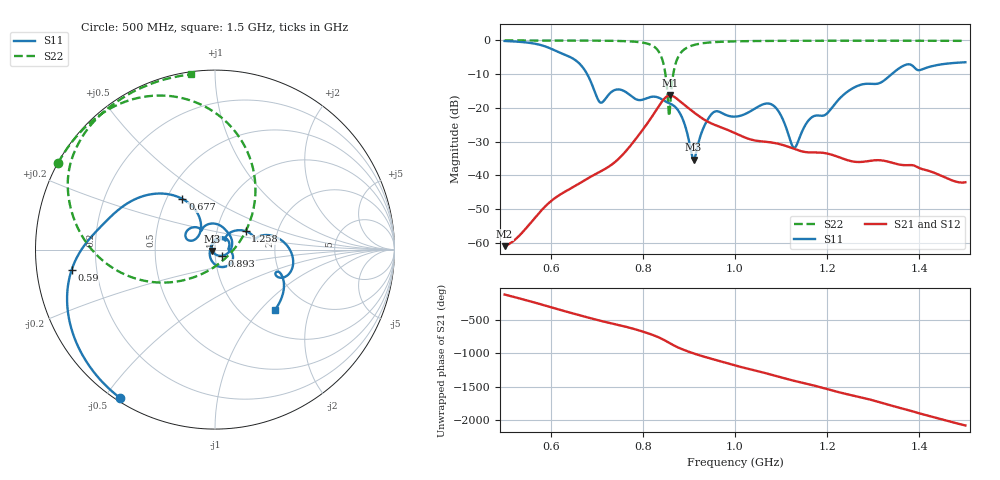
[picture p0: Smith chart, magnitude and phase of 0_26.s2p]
! TOUCHSTONE file generated by CST MICROWAVE STUDIO
! Date and time: Sat Oct 24 11:15:57 2020
! Project name: Scenario_1_Circular_Tissue_in_Line.cst
! Parameters = {L_HA=400; MT=2.54; Rad_Dielectric=30; Rad_Lower=7.3; Rad_Upper=30; a_HA=580; a_WG=246; b_HA=500; b_WG=121; c_HA=0; c_WG=187; d_feed=85; dx1=606; h_feed=15; h_lower=18; h_upper=40}
! Header version: 2018
! Port assignment regex: !\s*Touchstone port\s*([0-9]+)\s*=\s*(CST MWS port|CST DS port)\s*([0-9]+|Zmin|Zmax)\s*\(\"(.*)\"\)(\s*mode\s*([0-9]+))?.*
! Touchstone port assignment:
! Touchstone port 1 = CST MWS port 1 ("")
! Touchstone port 2 = CST MWS port 2 ("")
# GHz S DB R 50
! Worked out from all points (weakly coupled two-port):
!   1003 points, 500 MHz to 1.5 GHz, reference 50 ohm
!   highest |S21| = -16.31 dB at 859 MHz (marker M1); lowest = -61.0 dB at 500 MHz (marker M2)
!   lowest |S11| = -35.4 dB at 910 MHz (marker M3), VSWR 1.03, Z = 48.5 - j0.803 ohm
!   |S11| at or under -10 dB: 679.2 MHz to 1.34 GHz (660.7 MHz wide, 65.4 % of centre)
!   |S22| runs from -22.5 to 0.0 dB; largest |S21 - S12| = 9.8e-05
!   S11 on the Smith chart (normalised r, x): 500 MHz: 0.01, -0.55; 590 MHz: 0.11, -0.07; 677 MHz: 0.60, +0.38; 893 MHz: 1.07, -0.07; 1.258 GHz: 1.38, +0.29; 1.5 GHz: 1.38, -1.21
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0.5  -0.16 -122.5  -61.01 -112.1  -61.01 -112.1  -0.01 151.1
0.59  -1.86 -171.9  -48.98 78.1  -48.95 77.8  -0.02 144.9
0.667  -7.55 132.1  -42.00 -72.4  -42.01 -72.4  -0.04 138.3
0.677  -9.48 122.7  -41.19 -91.1  -41.19 -91.1  -0.05 137.3
0.708  -18.43 139.7  -38.86 -147.7  -38.86 -147.7  -0.07 133.8
0.745  -14.53 148.7  -35.42 152.0  -35.42 152.0  -0.15 128.4
0.789  -17.63 124.7  -28.44 73.0  -28.44 73.0  -0.45 117.3
0.834  -16.95 84.8  -19.64 -36.4  -19.64 -36.4  -3.20 82.7
0.848  -18.01 63.5  -17.07 -84.5  -17.07 -84.5  -9.13 50.6
0.859  -18.74 46.0  -16.31 -127.8  -16.31 -127.8  -19.94 -95.1
0.87  -19.69 22.7  -16.90 -168.6  -16.90 -168.6  -7.39 -155.9
0.893  -25.86 -42.8  -19.43 123.2  -19.43 123.2  -2.37 172.4
0.91  -35.38 -150.9  -21.25 81.0  -21.25 81.0  -1.39 162.0
0.95  -21.71 56.8  -24.70 -2.7  -24.69 -2.7  -0.55 148.9
1  -22.60 2.3  -27.49 -100.8  -27.49 -100.8  -0.27 140.2
1.08  -19.02 -57.6  -30.28 117.4  -30.28 117.4  -0.14 131.5
1.129  -31.86 156.1  -32.20 26.1  -32.20 26.1  -0.11 127.2
1.167  -22.76 52.2  -33.22 -36.2  -33.22 -36.2  -0.10 124.1
1.258  -14.00 30.9  -35.95 162.4  -35.95 162.4  -0.08 117.2
1.334  -10.70 16.2  -36.00 24.1  -36.00 24.1  -0.09 111.4
1.373  -7.13 -8.2  -36.99 -47.3  -36.99 -47.3  -0.09 108.4
1.5  -6.48 -45.5  -42.06 74.4  -42.06 74.4  -0.13 97.8
